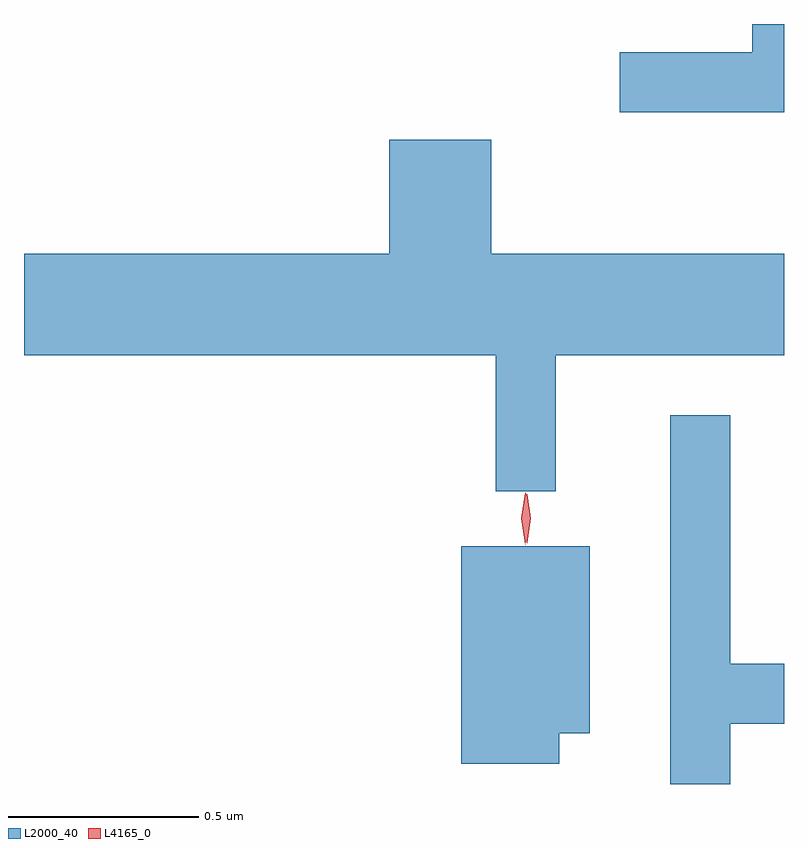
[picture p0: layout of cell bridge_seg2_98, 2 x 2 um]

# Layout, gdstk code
import gdstk
lib = gdstk.Library(unit=1e-6, precision=1e-09)
def P(c, l, *ps):  # polygons
    for p in ps: c.add(gdstk.Polygon(p, *l))
L2000_40 = (2000, 40)
L4165_0 = (4165, 0)

bridge_seg2_98 = lib.new_cell('bridge_seg2_98')
P(bridge_seg2_98, L2000_40, [(1215.115,993.688),(1215.031,993.688),(1215.031,993.614),(1214.683,993.614),(1214.683,993.456),(1215.115,993.456)],
  [(1214.514,992.816),(1215.115,992.816),(1215.115,993.084),(1214.344,993.084),(1214.344,993.384),(1214.076,993.384),(1214.076,993.084),(1213.115,993.084),(1213.115,992.816),(1214.356,992.816),(1214.356,992.458),(1214.514,992.458)],
  [(1214.974,991.846),(1215.115,991.846),(1215.115,992.004),(1214.974,992.004),(1214.974,992.658),(1214.816,992.658),(1214.816,991.688),(1214.974,991.688)],
  [(1214.524,991.821),(1214.604,991.821),(1214.604,992.314),(1214.266,992.314),(1214.266,991.741),(1214.524,991.741)])
P(bridge_seg2_98, L4165_0, [(1214.434,992.318),(1214.434,992.319),(1214.424,992.387),(1214.434,992.454),(1214.435,992.455),(1214.435,992.454),(1214.444,992.386),(1214.434,992.319)],
  [(1214.439,992.322),(1214.438,992.323),(1214.428,992.387),(1214.438,992.451),(1214.438,992.451),(1214.439,992.451),(1214.448,992.387),(1214.439,992.323)])

lib.write_gds('bridge_seg2_98.gds')
